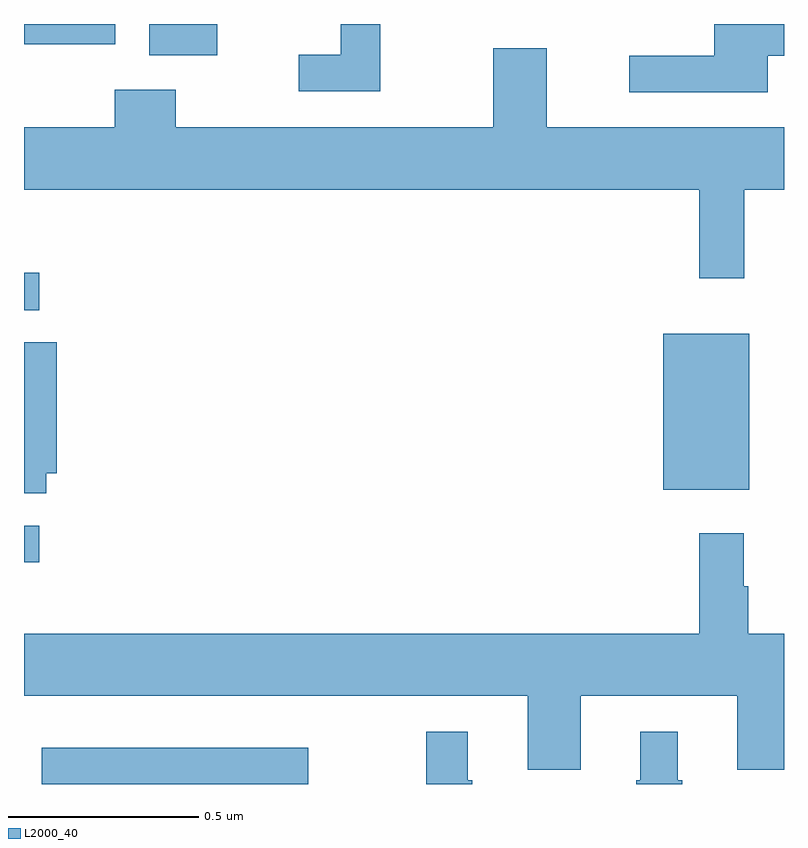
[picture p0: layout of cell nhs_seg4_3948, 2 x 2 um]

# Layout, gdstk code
import gdstk
lib = gdstk.Library(unit=1e-6, precision=1e-09)
def R(c, l, rs):  # rectangles x0, y0, x1, y1
    for r in rs: c.add(gdstk.rectangle(r[:2], r[2:], *l))
def P(c, l, *ps):  # polygons
    for p in ps: c.add(gdstk.Polygon(p, *l))
L2000_40 = (2000, 40)

nhs_seg4_3948 = lib.new_cell('nhs_seg4_3948')
R(nhs_seg4_3948, L2000_40, [(159.047,817.9,159.748,817.996), (159,818.484,159.04,818.58), (160.682,818.675,160.909,819.085), (159,819.147,159.04,819.246), (159.329,819.818,159.508,819.9), (159,819.847,159.24,819.9)])
P(nhs_seg4_3948, L2000_40, [(159.937,819.9),(159.833,819.9),(159.833,819.819),(159.723,819.819),(159.723,819.723),(159.937,819.723)],
  [(160.957,819.816),(161,819.816),(161,819.9),(160.817,819.9),(160.817,819.816),(160.593,819.816),(160.593,819.72),(160.957,819.72)],
  [(160.895,819.464),(161,819.464),(161,819.628),(160.375,819.628),(160.375,819.836),(160.235,819.836),(160.235,819.628),(159.399,819.628),(159.399,819.727),(159.239,819.727),(159.239,819.628),(159,819.628),(159,819.464),(160.777,819.464),(160.777,819.231),(160.895,819.231)],
  [(159.059,818.718),(159.086,818.718),(159.086,819.062),(159,819.062),(159,818.665),(159.059,818.665)],
  [(160.777,818.56),(160.777,818.296),(159,818.296),(159,818.132),(160.325,818.132),(160.325,817.938),(160.465,817.938),(160.465,818.132),(160.877,818.132),(160.877,817.938),(161,817.938),(161,818.296),(160.906,818.296),(160.906,818.42),(160.894,818.42),(160.894,818.56)],
  [(160.732,817.91),(160.72,817.91),(160.72,818.038),(160.622,818.038),(160.622,817.91),(160.611,817.91),(160.611,817.9),(160.732,817.9)],
  [(160.18,817.91),(160.168,817.91),(160.168,818.038),(160.059,818.038),(160.059,817.9),(160.18,817.9)])

lib.write_gds('nhs_seg4_3948.gds')
